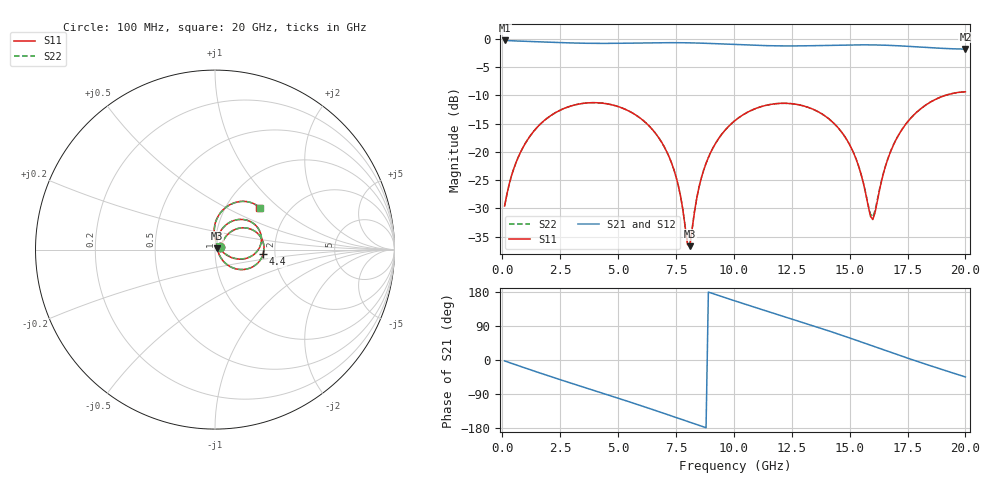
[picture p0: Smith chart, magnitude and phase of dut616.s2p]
! Touchstone file exported from HFSS 2026.1.0
!  File:  C:/ffzhzh/LocalFiles/Ansys_Project_Files/temp_train_TSV_RDL_616_1783124338_37876.aedt
!  Generated:  08:30:52 AM Jul  4, 2026
!  Design:  TSV_RDL
!  Project:  temp_train_TSV_RDL_616_1783124338_37876
! Variables:
!  h_bsmrdl = 3.53um
!  h_ox = 20um
!  h_rdl = 5um
!  h_sub = 98um
!  h_tmrdl = 4.86um
!  h_tsv = 98um
!  h_via = 3um
!  l_bsmrdl = 805.3um
!  l_sub = 6646.62um
!  l_tmrdl = 927.77um
!  m_sub = 200um
!  pitch = 29.88um
!  r_tsv = 5.98um
!  s_tmrdl = 10um
!  w_bsmrdl = 24.44um
!  w_sub = 500um
!  w_tmrdl = 15.44um
!  x_tsv_center1 = 935.49um
!  x_tsv_center2 = 1765.23um
!  x_tsv_center3 = 2708.44um
!  x_tsv_center4 = 3538.18um
!  x_tsv_center5 = 4481.39um
!  x_tsv_center6 = 5311.13um
# GHz S MA R 50.000000
! Terminal data exported
! Port[1] = TM_RDL1_1_T1
! Port[2] = TM_RDL5_1_T1
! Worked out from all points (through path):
!   200 points, 100 MHz to 20 GHz, reference 50 ohm
!   highest |S21| = -0.26 dB at 100 MHz (marker M1); lowest = -1.8 dB at 20 GHz (marker M2)
!   group delay of S21, straight-line fit = 56.1 ps
!   lowest |S11| = -36.7 dB at 8.1 GHz (marker M3), VSWR 1.03, Z = 51.3 + j0.724 ohm
!   |S11| at or under -10 dB: start of sweep to 19.12 GHz
!   |S22| runs from -36.5 to -9.3 dB; largest |S21 - S12| = 1.6e-14
!   S11 on the Smith chart (normalised r, x): 100 MHz: 1.06, +0.03; 4.4 GHz: 1.73, -0.10; 20 GHz: 1.42, +0.75
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0.1  0.03326 23.7  0.97 -2.3  0.97 -2.3  0.03326 23.7
! Gamma 0 0 0 0
! Port Impedance 50 0 50 0
0.6  0.08127 49.6  0.96 -13.0  0.96 -13.0  0.08126 49.6
1.3  0.1474 46.6  0.949 -27.6  0.949 -27.6  0.1474 46.6
3.5  0.2695 10.7  0.9167 -71.5  0.9167 -71.5  0.2695 10.8
4.4  0.2693 -5.5  0.9137 -89.0  0.9137 -89.0  0.2692 -5.4
5.8  0.2101 -30.8  0.9206 -116.7  0.9206 -116.7  0.2101 -30.6
6.8  0.1296 -47.9  0.9267 -137.1  0.9267 -137.1  0.1296 -47.7
7.5  0.06068 -54.7  0.9272 -151.6  0.9272 -151.6  0.06074 -54.3
7.8  0.0307 -47.0  0.926 -157.9  0.926 -157.9  0.03085 -46.3
8  0.01514 -11.3  0.9246 -162.1  0.9246 -162.1  0.01548 -10.6
8.1  0.01468 28.7  0.9238 -164.2  0.9238 -164.2  0.01504 28.4
8.4  0.0392 73.3  0.9207 -170.4  0.9207 -170.4  0.03934 72.8
8.8  0.07939 76.0  0.9154 -178.7  0.9154 -178.7  0.07945 75.9
10.1  0.1934 56.9  0.8923 154.9  0.8923 154.9  0.1934 56.9
11.8  0.2674 27.2  0.8696 121.8  0.8696 121.8  0.2673 27.3
13.4  0.2399 -0.7  0.8719 90.8  0.8719 90.8  0.2398 -0.4
15  0.116 -24.8  0.8858 58.2  0.8858 58.2  0.1161 -24.1
15.4  0.07365 -25.3  0.8873 49.8  0.8873 49.8  0.0739 -24.2
16  0.02526 38.3  0.8859 37.0  0.8859 37.0  0.02663 38.5
16.7  0.09259 92.9  0.8779 22.0  0.8779 22.0  0.09318 92.1
18  0.2346 77.1  0.8492 -5.2  0.8492 -5.2  0.235 76.9
20  0.3406 43.3  0.8134 -44.7  0.8134 -44.7  0.3409 43.3
